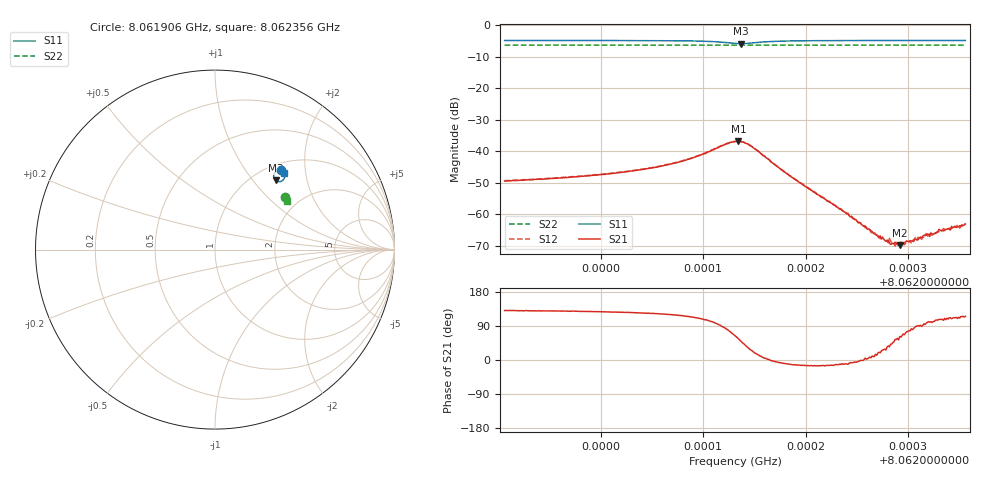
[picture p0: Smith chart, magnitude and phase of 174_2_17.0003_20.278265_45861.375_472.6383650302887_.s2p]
#  HZ  S  RI  R  50.00
! Rohde & Schwarz Vector Network Analyzer
! Rohde-Schwarz,ZNB20-2Port,1311601062101988,3.16
! Created: UTC 3/20/2024, 10:59:52 PM
! freq[Hz]  re:S11  im:S11  re:S21  im:S21  re:S12  im:S12  re:S22  im:S22
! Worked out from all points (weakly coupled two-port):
!   401 points, 8.061906 GHz to 8.062356 GHz, reference 50 ohm
!   highest |S21| = -36.83 dB at 8.0621344 GHz (marker M1); lowest = -69.8 dB at 8.0622919 GHz (marker M2)
!   lowest |S11| = -5.8 dB at 8.0621367 GHz (marker M3), VSWR 3.10, Z = 62.7 + j65.7 ohm
!   |S11| at or under -10 dB: nowhere
!   |S22| runs from -6.3 to -6.3 dB; largest |S21 - S12| = 0.0011
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8.06190603e9  0.3703 0.4409  -0.00219 0.00256  -0.00206 0.00273  0.3877 0.2933
8.0619814e9  0.3764 0.435  -0.00248 0.00315  -0.00233 0.00333  0.3903 0.2896
8.06202528e9  0.3806 0.4301  -0.00278 0.00384  -0.00257 0.00407  0.3917 0.2873
8.06205678e9  0.3843 0.4243  -0.00302 0.00487  -0.00278 0.00507  0.3928 0.2857
8.06208603e9  0.3875 0.4142  -0.00313 0.00682  -0.00274 0.00707  0.3937 0.2836
8.06211415e9  0.382 0.3911  -0.000877 0.0113  -0.000275 0.0115  0.3941 0.2816
8.06213103e9  0.3517 0.379  0.00618 0.0128  0.00711 0.0126  0.3933 0.2807
8.0621344e9  0.3431 0.3821  0.00813 0.0119  0.0089 0.0114  0.3929 0.2808
8.06213665e9  0.3377 0.3857  0.00918 0.0108  0.00985 0.0103  0.3928 0.2809
8.0621479e9  0.3271 0.412  0.0108 0.00481  0.0111 0.00414  0.393 0.2819
8.0621794e9  0.3528 0.439  0.00461 -0.000744  0.00462 -0.00101  0.3956 0.2811
8.0622064e9  0.365 0.4387  0.00227 -0.000611  0.00226 -0.000769  0.397 0.2796
8.0622334e9  0.3716 0.4365  0.00118 -0.000225  0.00117 -0.000338  0.3981 0.2781
8.06227165e9  0.3773 0.4336  0.000395 0.000149  0.000416 0.000126  0.3994 0.2761
8.06228178e9  0.3785 0.4329  0.000289 0.000201  0.000333 0.00025  0.3999 0.2756
8.0622919e9  0.3797 0.4319  0.000152 0.000287  0.000147 0.000274  0.4002 0.275
8.06230765e9  0.3813 0.4309  8.82e-06 0.000401  4.57e-05 0.000432  0.4007 0.2743
8.06231328e9  0.3818 0.4307  1.09e-05 0.000424  3.94e-05 0.000398  0.4008 0.2741
8.06231665e9  0.382 0.4303  -2.93e-05 0.000458  -2.23e-05 0.000472  0.4009 0.2738
8.0623234e9  0.3827 0.43  -7.7e-05 0.000485  -5.84e-05 0.000461  0.4012 0.2734
8.06233128e9  0.3834 0.4294  -0.000165 0.000539  -0.000106 0.000532  0.4015 0.2731
8.06235603e9  0.3854 0.4279  -0.0003 0.000633  -0.000247 0.000672  0.4024 0.2717
